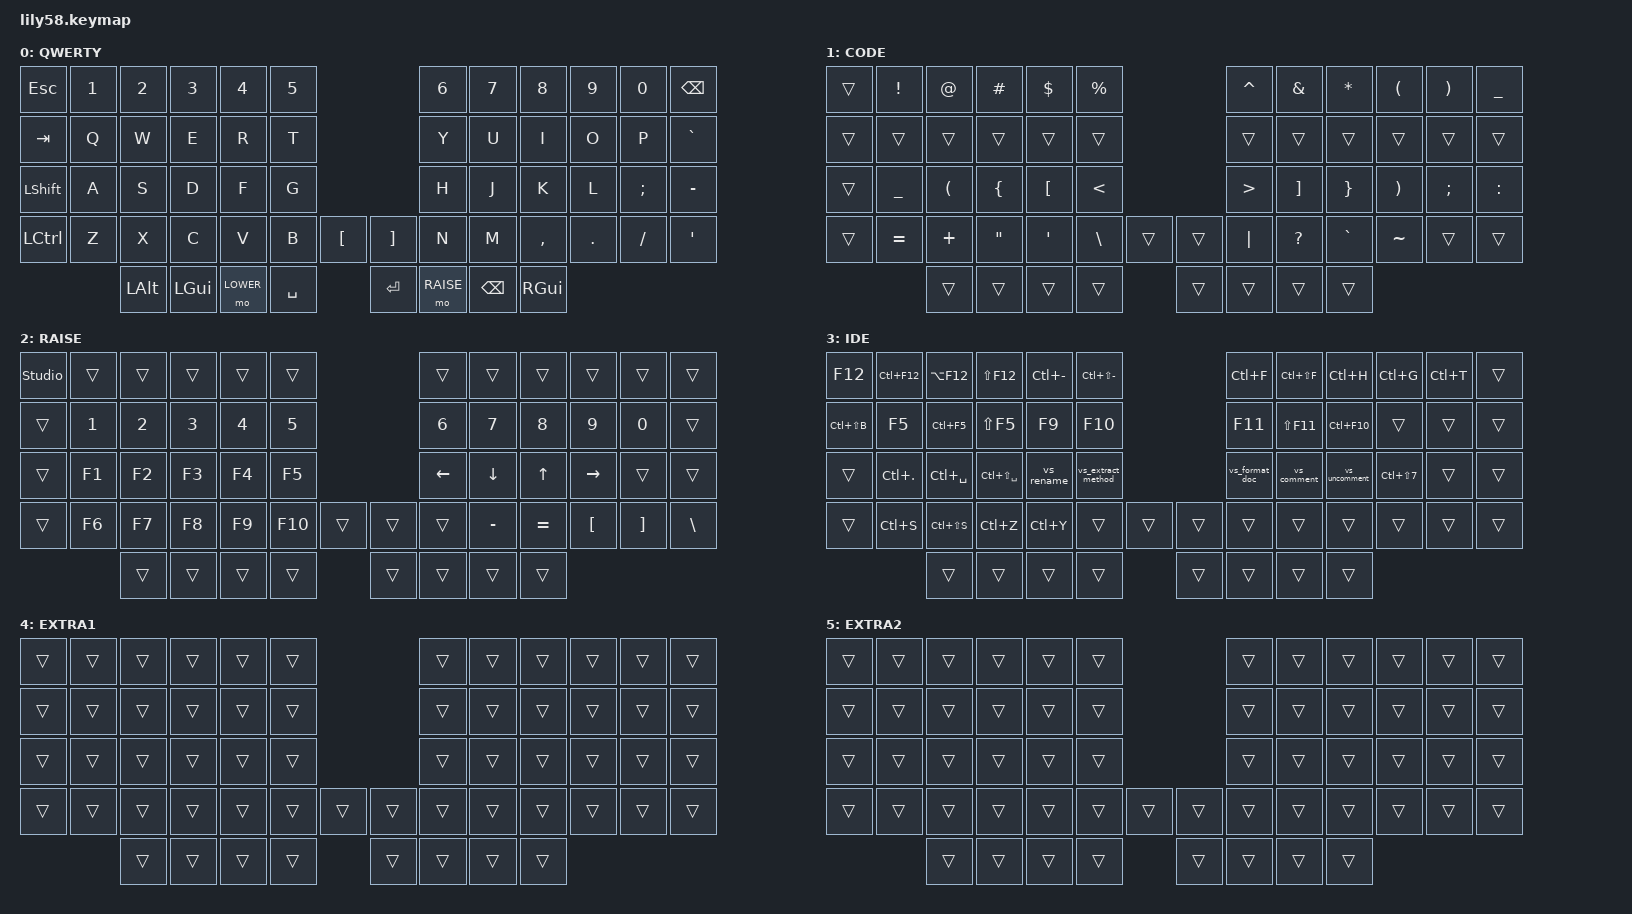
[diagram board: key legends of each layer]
/*
 * ZMK keymap para Lily58 + nice!nano
 * Basado en el layout QWERTY/LOWER/RAISE de referencia proporcionado por el usuario.
 * Incluye soporte para ZMK Studio (tecla &studio_unlock en LOWER, esquina superior izquierda).
 */

#include <behaviors.dtsi>
#include <dt-bindings/zmk/keys.h>
#include <dt-bindings/zmk/bt.h>
#include <dt-bindings/zmk/outputs.h>

#define DEFAULT 0
#define LOWER   1
#define RAISE   2
#define IDE     3
#define EXTRA1  4
#define EXTRA2  5

/ {
    macros {
        // Escribe "=>" (lambda de C#) de un solo toque.
        // Posiciones físicas para distribución ISO española:
        //   '=' = Shift+0        '>' = Shift+<  (tecla junto a Z)
        lambda_arrow: lambda_arrow {
            compatible = "zmk,behavior-macro";
            #binding-cells = <0>;
            bindings = <&macro_tap &kp LS(N0) &kp LS(NON_US_BSLH)>;
        };
 
        // --- Atajos de doble combinación de Visual Studio ---
        // Cada uno pulsa Ctrl+X, lo suelta, y pulsa Ctrl+Y, como haría tu mano.
        vs_rename: vs_rename {
            // Ctrl+R, Ctrl+R -> Renombrar símbolo
            compatible = "zmk,behavior-macro";
            #binding-cells = <0>;
            bindings = <&macro_press &kp LCTRL>, <&macro_tap &kp R>, <&macro_release &kp LCTRL>,
                        <&macro_press &kp LCTRL>, <&macro_tap &kp R>, <&macro_release &kp LCTRL>;
        };
 
        vs_extract_method: vs_extract_method {
            // Ctrl+R, Ctrl+M -> Extraer método
            compatible = "zmk,behavior-macro";
            #binding-cells = <0>;
            bindings = <&macro_press &kp LCTRL>, <&macro_tap &kp R>, <&macro_release &kp LCTRL>,
                        <&macro_press &kp LCTRL>, <&macro_tap &kp M>, <&macro_release &kp LCTRL>;
        };
 
        vs_format_doc: vs_format_doc {
            // Ctrl+K, Ctrl+D -> Formatear documento
            compatible = "zmk,behavior-macro";
            #binding-cells = <0>;
            bindings = <&macro_press &kp LCTRL>, <&macro_tap &kp K>, <&macro_release &kp LCTRL>,
                        <&macro_press &kp LCTRL>, <&macro_tap &kp D>, <&macro_release &kp LCTRL>;
        };
 
        vs_comment: vs_comment {
            // Ctrl+K, Ctrl+C -> Comentar selección
            compatible = "zmk,behavior-macro";
            #binding-cells = <0>;
            bindings = <&macro_press &kp LCTRL>, <&macro_tap &kp K>, <&macro_release &kp LCTRL>,
                        <&macro_press &kp LCTRL>, <&macro_tap &kp C>, <&macro_release &kp LCTRL>;
        };
 
        vs_uncomment: vs_uncomment {
            // Ctrl+K, Ctrl+U -> Descomentar selección
            compatible = "zmk,behavior-macro";
            #binding-cells = <0>;
            bindings = <&macro_press &kp LCTRL>, <&macro_tap &kp K>, <&macro_release &kp LCTRL>,
                        <&macro_press &kp LCTRL>, <&macro_tap &kp U>, <&macro_release &kp LCTRL>;
        };
    };
 
    conditional_layers {
        compatible = "zmk,conditional-layers";
        // Mantén CODE + RAISE a la vez para entrar en la capa IDE
        tri_layer {
            if-layers = <LOWER RAISE>;
            then-layer = <IDE>;
        };
    };

    keymap {
        compatible = "zmk,keymap";

        default_layer {
            display-name = "QWERTY";
            bindings = <
&kp ESC    &kp N1  &kp N2  &kp N3    &kp N4   &kp N5                        &kp N6    &kp N7   &kp N8    &kp N9    &kp N0    &kp BSPC
&kp TAB    &kp Q   &kp W   &kp E     &kp R    &kp T                         &kp Y     &kp U    &kp I     &kp O     &kp P     &kp GRAVE
&kp LSHFT  &kp A   &kp S   &kp D     &kp F    &kp G                         &kp H     &kp J    &kp K     &kp L     &kp SEMI  &kp MINUS
&kp LCTRL  &kp Z   &kp X   &kp C     &kp V    &kp B   &kp LBKT     &kp RBKT &kp N     &kp M    &kp COMMA &kp DOT   &kp FSLH  &kp SQT
                    &kp LALT  &kp LGUI  &mo LOWER  &kp SPACE       &kp RET  &mo RAISE  &kp BSPC  &kp RGUI
            >;
        };

        lower_layer {
            /* Capa de código: pares de símbolos en espejo en la fila home
             * (abres con la izquierda, cierras con la derecha), pensada para
             * C#/.NET: {}, (), [], <> y ; muy accesibles. */
            display-name = "CODE";
            bindings = <
&trans &kp EXCL  &kp AT    &kp HASH  &kp DLLR  &kp PRCNT                    &kp CARET &kp AMPS  &kp ASTRK &kp LPAR  &kp RPAR  &kp UNDER
&trans         &trans    &trans    &trans    &trans    &trans                       &trans    &trans    &trans    &trans    &trans    &trans
&trans         &kp UNDER &kp LPAR  &kp LBRC  &kp LBKT  &kp LT    &kp GT    &kp RBKT  &kp RBRC  &kp RPAR  &kp SEMI  &kp COLON
&trans         &kp EQUAL &kp PLUS  &kp DQT   &kp SQT   &kp BSLH  &trans      &trans  &kp PIPE  &kp QMARK &kp GRAVE &kp TILDE &trans   &trans
                         &trans    &trans    &trans    &trans           &trans   &trans   &trans   &trans
            >;
        };

        raise_layer {
            display-name = "RAISE";
            bindings = <
&studio_unlock   &trans   &trans   &trans   &trans   &trans                        &trans   &trans   &trans   &trans   &trans   &trans
&trans  &kp N1   &kp N2   &kp N3   &kp N4   &kp N5                        &kp N6   &kp N7   &kp N8   &kp N9   &kp N0   &trans
&trans  &kp F1   &kp F2   &kp F3   &kp F4   &kp F5                        &kp LEFT &kp DOWN &kp UP   &kp RIGHT &trans  &trans
&trans  &kp F6   &kp F7   &kp F8   &kp F9   &kp F10 &trans       &trans   &trans   &kp MINUS &kp EQUAL &kp LBKT &kp RBKT &kp BSLH
                  &trans   &trans   &trans   &trans           &trans   &trans   &trans   &trans
            >;
        };
        ide_layer {
            /* Capa de atajos de Visual Studio (Windows). Se activa sola
             * manteniendo CODE + RAISE pulsados a la vez.
             * Fila 1: navegación   Fila 2: build/debug
             * Fila 3: refactor/edición (macros de doble combo)   Fila 4: archivo */
            display-name = "IDE";
            bindings = <
&kp F12        &kp LC(F12)   &kp LA(F12)     &kp LS(F12)      &kp LC(MINUS)   &kp LC(LS(MINUS))              &kp LC(F)     &kp LC(LS(F))   &kp LC(H)  &kp LC(G)   &kp LC(T)     &trans
&kp LC(LS(B))  &kp F5        &kp LC(F5)      &kp LS(F5)       &kp F9          &kp F10                        &kp F11       &kp LS(F11)     &kp LC(F10) &trans     &trans        &trans
&trans         &kp LC(DOT)   &kp LC(SPACE)   &kp LC(LS(SPACE)) &vs_rename     &vs_extract_method  &vs_format_doc &vs_comment    &vs_uncomment  &kp LC(LS(N7)) &trans      &trans
&trans         &kp LC(S)     &kp LC(LS(S))   &kp LC(Z)        &kp LC(Y)       &trans        &trans   &trans    &trans        &trans          &trans      &trans      &trans   &trans
                             &trans          &trans           &trans          &trans                  &trans        &trans          &trans        &trans
            >;
        };
 
        extra1_layer {
            /* Capa libre reservada para uso futuro (sin asignar a ninguna tecla todavía). */
            display-name = "EXTRA1";
            bindings = <
&trans  &trans  &trans  &trans  &trans  &trans                      &trans  &trans  &trans  &trans  &trans  &trans
&trans  &trans  &trans  &trans  &trans  &trans                      &trans  &trans  &trans  &trans  &trans  &trans
&trans  &trans  &trans  &trans  &trans  &trans                      &trans  &trans  &trans  &trans  &trans  &trans
&trans  &trans  &trans  &trans  &trans  &trans  &trans      &trans  &trans  &trans  &trans  &trans  &trans  &trans
                &trans  &trans  &trans  &trans          &trans  &trans  &trans  &trans
            >;
        };
 
        extra2_layer {
            /* Segunda capa libre reservada para uso futuro (sin asignar a ninguna tecla todavía). */
            display-name = "EXTRA2";
            bindings = <
&trans  &trans  &trans  &trans  &trans  &trans                      &trans  &trans  &trans  &trans  &trans  &trans
&trans  &trans  &trans  &trans  &trans  &trans                      &trans  &trans  &trans  &trans  &trans  &trans
&trans  &trans  &trans  &trans  &trans  &trans                      &trans  &trans  &trans  &trans  &trans  &trans
&trans  &trans  &trans  &trans  &trans  &trans  &trans      &trans  &trans  &trans  &trans  &trans  &trans  &trans
                &trans  &trans  &trans  &trans          &trans  &trans  &trans  &trans
            >;
        };

    };
};
